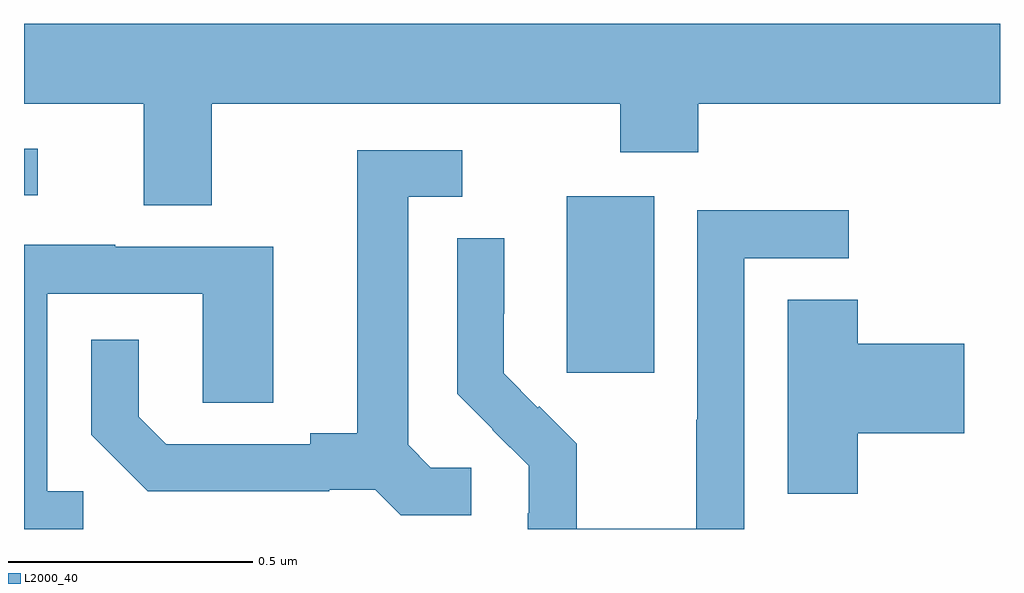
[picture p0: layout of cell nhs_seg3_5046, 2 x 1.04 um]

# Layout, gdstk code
import gdstk
lib = gdstk.Library(unit=1e-6, precision=1e-09)
def R(c, l, rs):  # rectangles x0, y0, x1, y1
    for r in rs: c.add(gdstk.rectangle(r[:2], r[2:], *l))
def P(c, l, *ps):  # polygons
    for p in ps: c.add(gdstk.Polygon(p, *l))
L2000_40 = (2000, 40)

nhs_seg3_5046 = lib.new_cell('nhs_seg3_5046')
R(nhs_seg3_5046, L2000_40, [(175.112,677.721,175.291,678.082), (174,678.084,174.028,678.18)])
P(nhs_seg3_5046, L2000_40, [(174.385,678.272),(175.222,678.272),(175.222,678.173),(175.382,678.173),(175.382,678.272),(176,678.272),(176,678.436),(174,678.436),(174,678.272),(174.245,678.272),(174.245,678.064),(174.385,678.064)],
  [(174.916,677.526),(174.834,677.526),(174.787,677.573),(174.787,678.081),(174.898,678.081),(174.898,678.177),(174.683,678.177),(174.683,677.597),(174.587,677.597),(174.587,677.574),(174.292,677.574),(174.235,677.631),(174.235,677.788),(174.138,677.788),(174.138,677.594),(174.254,677.478),(174.626,677.478),(174.626,677.481),(174.72,677.481),(174.772,677.429),(174.916,677.429)],
  [(175.476,677.955),(175.69,677.955),(175.69,678.054),(175.38,678.054),(175.38,677.624),(175.378,677.624),(175.378,677.401),(175.133,677.401),(175.133,677.575),(175.056,677.652),(175.053,677.649),(174.983,677.72),(174.983,677.842),(174.984,677.842),(174.984,677.996),(174.888,677.996),(174.888,677.678),(174.961,677.605),(174.96,677.604),(175.034,677.53),(175.034,677.433),(175.032,677.433),(175.032,677.4),(175.476,677.4)],
  [(174.121,677.478),(174.048,677.478),(174.048,677.883),(174.366,677.883),(174.366,677.659),(174.511,677.659),(174.511,677.979),(174.187,677.979),(174.187,677.983),(174,677.983),(174,677.4),(174.121,677.4)],
  [(175.709,677.597),(175.927,677.597),(175.927,677.78),(175.709,677.78),(175.709,677.87),(175.565,677.87),(175.565,677.473),(175.709,677.473)])

lib.write_gds('nhs_seg3_5046.gds')
